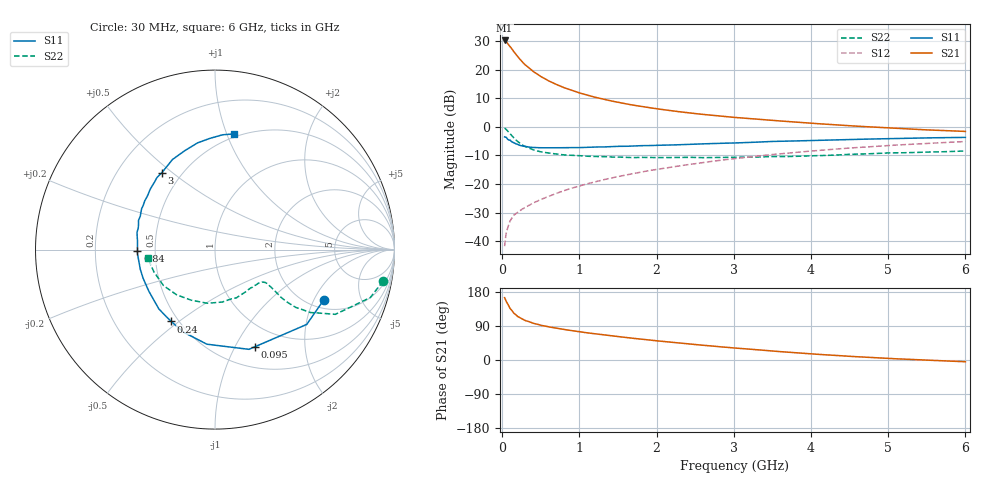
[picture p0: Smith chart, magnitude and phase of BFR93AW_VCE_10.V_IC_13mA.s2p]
! Infineon Technologies  Discrete & RF Semiconductors
! BFR93AW
! VCE =  10. V,  IC =  13 mA
! Common Emitter S-Parameters:  Nov 2015
# GHz  S  MA  R  50
!  f  S11  S21  S12  S22
! GHz  MAG  ANG  MAG  ANG  MAG  ANG  MAG  ANG
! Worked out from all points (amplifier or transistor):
!   206 points, 30 MHz to 6 GHz, reference 50 ohm
!   highest |S21| = 30.2 dB at 30 MHz (marker M1)
!   |S21| within 3 dB of that: start of sweep to 124.9 MHz
!   unconditionally stable (mu >= 1): 686.4 MHz to 2.212 GHz
!   at 200 MHz: K = 0.56, MSG = 27.2 dB, |S12| = -29.9 dB
!   at 1.56 GHz: K = 1.05, MAG = 11.3 dB, |S12| = -17.1 dB
!   at 6 GHz: K = 0.88, MSG = 1.8 dB, |S12| = -5.1 dB
!   S11 on the Smith chart (normalised r, x): 30 MHz: 2.38, -2.40; 95 MHz: 0.73, -1.20; 240 MHz: 0.46, -0.47; 840 MHz: 0.40, -0.01; 3 GHz: 0.39, +0.46; 6 GHz: 0.47, +1.06
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0.03  0.668 -24.7  32.32 164.5  0.0082 75.3  0.953 -10.6
0.05  0.6595 -39.2  30.96 154.7  0.0137 70.3  0.9054 -17.2
0.095  0.5852 -67.8  25.93 138.2  0.0216 63.3  0.774 -27.0
0.1  0.587 -71.2  25.54 136.0  0.0225 62.8  0.761 -28.3
0.15  0.529 -94.9  20.47 123.3  0.0286 57.6  0.637 -33.4
0.2  0.4923 -111.0  16.79 114.8  0.0321 56.2  0.5522 -35.6
0.24  0.4685 -121.3  14.56 110.0  0.0351 56.4  0.5022 -36.0
0.26  0.462 -125.9  13.62 107.7  0.0366 56.6  0.4817 -36.0
0.3  0.4549 -133.5  12.02 103.9  0.0392 57.1  0.4497 -35.8
0.4  0.4355 -147.8  9.275 96.9  0.0465 58.9  0.3966 -34.4
0.5  0.4312 -158.1  7.564 91.6  0.0537 61.3  0.3649 -33.6
0.6  0.4305 -165.1  6.357 87.4  0.0608 63.4  0.3473 -33.1
0.7  0.4294 -171.6  5.504 83.8  0.0685 65.0  0.335 -33.2
0.84  0.4322 -178.8  4.632 79.3  0.0798 66.5  0.321 -34.3
1.04  0.4353 173.0  3.777 73.4  0.0958 67.9  0.3099 -36.5
1.5  0.4562 159.1  2.674 61.8  0.135 68.6  0.2962 -44.9
2.02  0.4762 145.3  2.05 50.2  0.1819 66.9  0.2906 -57.3
3  0.5212 124.5  1.464 31.8  0.2766 60.8  0.295 -82.0
3.1  0.5268 122.6  1.428 30.3  0.2867 59.8  0.2945 -85.2
4.1  0.5809 105.3  1.132 14.8  0.3866 50.2  0.3133 -118.2
5.1  0.6236 91.4  0.944 3.2  0.4793 39.1  0.3506 -148.1
6  0.6535 80.5  0.831 -4.6  0.5534 29.1  0.3786 -173.0
